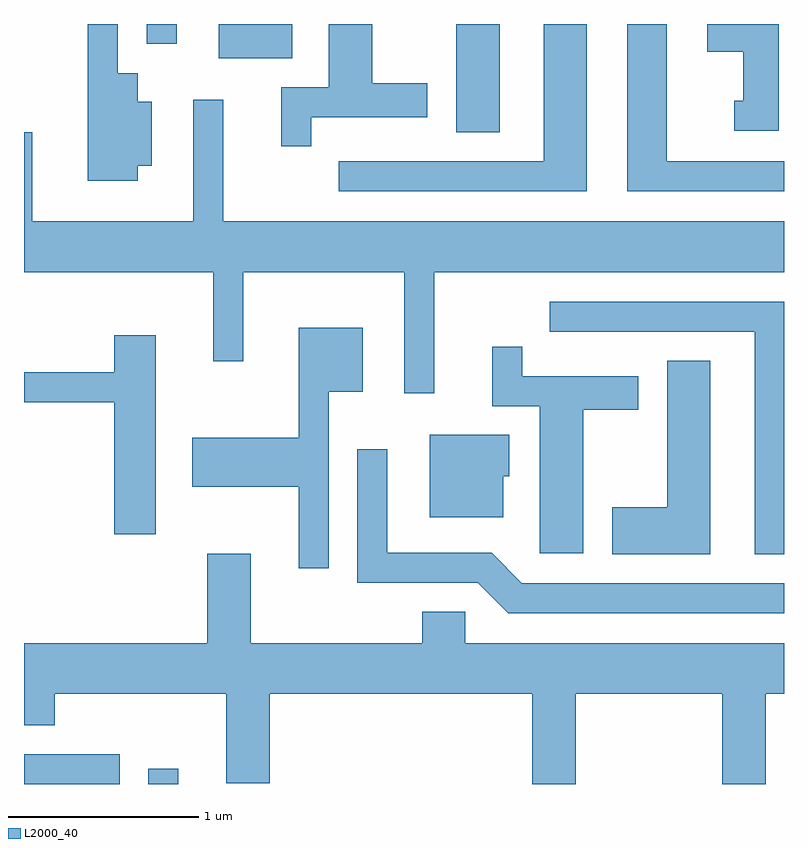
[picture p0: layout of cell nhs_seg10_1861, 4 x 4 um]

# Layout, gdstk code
import gdstk
lib = gdstk.Library(unit=1e-6, precision=1e-09)
def R(c, l, rs):  # rectangles x0, y0, x1, y1
    for r in rs: c.add(gdstk.rectangle(r[:2], r[2:], *l))
def P(c, l, *ps):  # polygons
    for p in ps: c.add(gdstk.Polygon(p, *l))
L2000_40 = (2000, 40)

nhs_seg10_1861 = lib.new_cell('nhs_seg10_1861')
R(nhs_seg10_1861, L2000_40, [(239.611,2144.522,240.114,2144.679), (240.266,2144.522,240.424,2144.603), (241.886,2147.951,242.114,2148.522), (240.636,2148.341,241.024,2148.522), (240.256,2148.418,240.414,2148.522)])
P(nhs_seg10_1861, L2000_40, [(243.611,2147.799),(242.994,2147.799),(242.994,2148.522),(242.786,2148.522),(242.786,2147.641),(243.611,2147.641)],
  [(243.584,2148.522),(243.206,2148.522),(243.206,2148.376),(243.396,2148.376),(243.396,2148.119),(243.348,2148.119),(243.348,2147.961),(243.584,2147.961)],
  [(242.574,2148.522),(242.346,2148.522),(242.346,2147.799),(241.268,2147.799),(241.268,2147.641),(242.574,2147.641)],
  [(241.124,2148.031),(241.734,2148.031),(241.734,2148.209),(241.444,2148.209),(241.444,2148.522),(241.216,2148.522),(241.216,2148.189),(240.966,2148.189),(240.966,2147.878),(241.124,2147.878)],
  [(240.209,2147.776),(240.284,2147.776),(240.284,2148.114),(240.209,2148.114),(240.209,2148.264),(240.104,2148.264),(240.104,2148.522),(239.946,2148.522),(239.946,2147.696),(240.209,2147.696)],
  [(241.769,2147.216),(243.611,2147.216),(243.611,2147.484),(240.659,2147.484),(240.659,2148.123),(240.501,2148.123),(240.501,2147.484),(239.654,2147.484),(239.654,2147.953),(239.611,2147.953),(239.611,2147.216),(240.606,2147.216),(240.606,2146.748),(240.764,2146.748),(240.764,2147.216),(241.611,2147.216),(241.611,2146.578),(241.769,2146.578)],
  [(243.611,2147.059),(242.378,2147.059),(242.378,2146.901),(243.456,2146.901),(243.456,2145.731),(243.611,2145.731)],
  [(241.214,2146.586),(241.394,2146.586),(241.394,2146.924),(241.056,2146.924),(241.056,2146.344),(240.496,2146.344),(240.496,2146.086),(241.056,2146.086),(241.056,2145.658),(241.214,2145.658)],
  [(240.304,2146.884),(240.086,2146.884),(240.086,2146.689),(239.611,2146.689),(239.611,2146.531),(240.086,2146.531),(240.086,2145.836),(240.304,2145.836)],
  [(242.554,2146.491),(242.844,2146.491),(242.844,2146.669),(242.234,2146.669),(242.234,2146.823),(242.076,2146.823),(242.076,2146.511),(242.326,2146.511),(242.326,2145.736),(242.554,2145.736)],
  [(243.224,2146.749),(242.996,2146.749),(242.996,2145.979),(242.706,2145.979),(242.706,2145.731),(243.224,2145.731)],
  [(242.134,2146.141),(242.164,2146.141),(242.164,2146.359),(241.746,2146.359),(241.746,2145.926),(242.134,2145.926)],
  [(243.611,2145.579),(242.232,2145.579),(242.072,2145.739),(241.524,2145.739),(241.524,2146.283),(241.366,2146.283),(241.366,2145.581),(241.999,2145.581),(242.159,2145.421),(243.611,2145.421)],
  [(242.514,2144.996),(243.286,2144.996),(243.286,2144.522),(243.514,2144.522),(243.514,2144.996),(243.611,2144.996),(243.611,2145.264),(241.934,2145.264),(241.934,2145.429),(241.706,2145.429),(241.706,2145.264),(240.804,2145.264),(240.804,2145.734),(240.576,2145.734),(240.576,2145.264),(239.611,2145.264),(239.611,2144.831),(239.774,2144.831),(239.774,2144.996),(240.676,2144.996),(240.676,2144.526),(240.904,2144.526),(240.904,2144.996),(242.286,2144.996),(242.286,2144.522),(242.514,2144.522)])

lib.write_gds('nhs_seg10_1861.gds')
